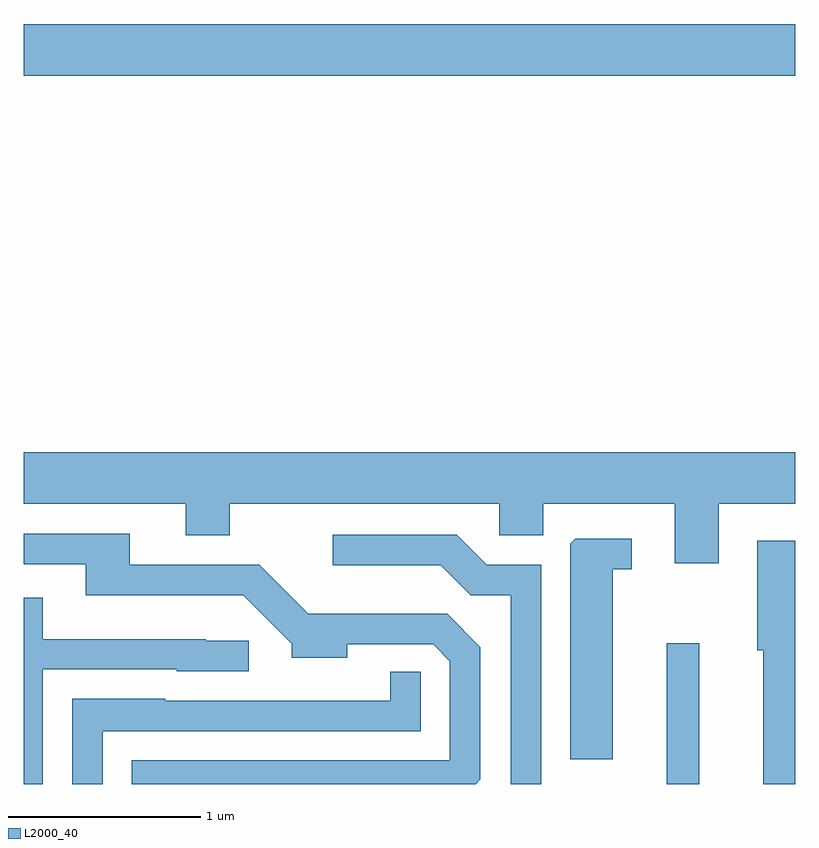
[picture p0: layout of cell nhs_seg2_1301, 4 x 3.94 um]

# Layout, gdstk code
import gdstk
lib = gdstk.Library(unit=1e-6, precision=1e-09)
def R(c, l, rs):  # rectangles x0, y0, x1, y1
    for r in rs: c.add(gdstk.rectangle(r[:2], r[2:], *l))
def P(c, l, *ps):  # polygons
    for p in ps: c.add(gdstk.Polygon(p, *l))
L2000_40 = (2000, 40)

nhs_seg2_1301 = lib.new_cell('nhs_seg2_1301')
R(nhs_seg2_1301, L2000_40, [(226.946,995.802,227.114,996.533), (223.611,999.476,227.611,999.744)])
P(nhs_seg2_1301, L2000_40, [(227.214,997.256),(227.611,997.256),(227.611,997.524),(223.611,997.524),(223.611,997.256),(224.451,997.256),(224.451,997.091),(224.679,997.091),(224.679,997.256),(226.076,997.256),(226.076,997.091),(226.304,997.091),(226.304,997.256),(226.986,997.256),(226.986,996.946),(227.214,996.946)],
  [(225.979,995.827),(225.979,996.512),(225.807,996.684),(225.087,996.684),(224.832,996.939),(224.159,996.939),(224.159,997.099),(223.611,997.099),(223.611,996.941),(223.931,996.941),(223.931,996.781),(224.749,996.781),(225.001,996.529),(225.001,996.456),(225.289,996.456),(225.289,996.526),(225.734,996.526),(225.821,996.439),(225.821,995.924),(224.171,995.924),(224.171,995.802),(225.954,995.802)],
  [(226.294,996.939),(226.012,996.939),(225.857,997.094),(225.213,997.094),(225.213,996.936),(225.774,996.936),(225.929,996.781),(226.136,996.781),(226.136,995.802),(226.294,995.802)],
  [(226.664,996.916),(226.763,996.916),(226.763,997.074),(226.472,997.074),(226.446,997.049),(226.446,995.931),(226.664,995.931)],
  [(227.611,997.064),(227.416,997.064),(227.416,996.496),(227.446,996.496),(227.446,995.802),(227.611,995.802)],
  [(223.709,996.396),(224.405,996.396),(224.405,996.386),(224.778,996.386),(224.778,996.544),(224.555,996.544),(224.555,996.554),(223.709,996.554),(223.709,996.769),(223.611,996.769),(223.611,995.802),(223.709,995.802)],
  [(224.019,996.076),(225.669,996.076),(225.669,996.383),(225.511,996.383),(225.511,996.234),(224.345,996.234),(224.345,996.244),(223.861,996.244),(223.861,995.802),(224.019,995.802)])

lib.write_gds('nhs_seg2_1301.gds')
